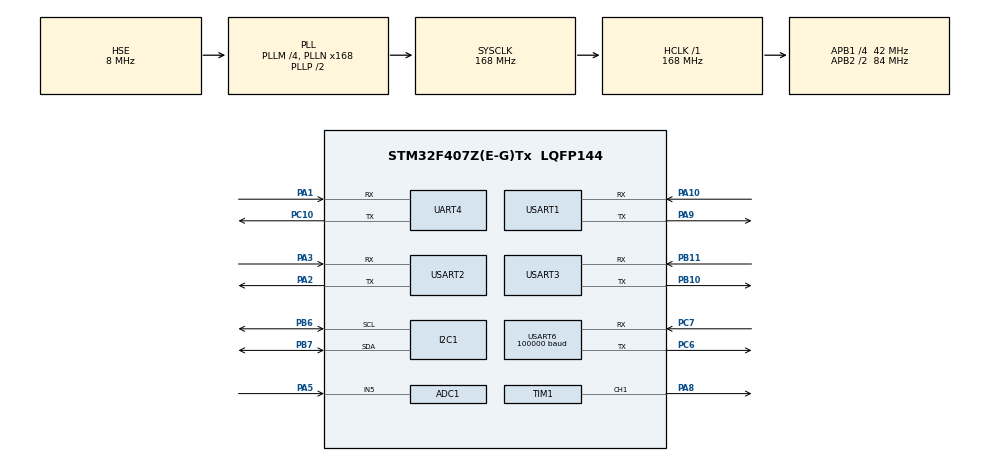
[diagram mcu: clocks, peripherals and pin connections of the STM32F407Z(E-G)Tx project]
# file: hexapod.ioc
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ADC1.Channel-1\#ChannelRegularConversion=ADC_CHANNEL_5
ADC1.ContinuousConvMode=ENABLE
ADC1.NbrOfConversionFlag=1
ADC1.Rank-1\#ChannelRegularConversion=1
ADC1.SamplingTime-1\#ChannelRegularConversion=ADC_SAMPLETIME_3CYCLES
ADC1.master=1
I2C1.I2C_Mode=I2C_Fast
Mcu.Family=STM32F4
Mcu.Name=STM32F407Z(E-G)Tx
Mcu.Package=LQFP144
NVIC.PriorityGroup=NVIC_PRIORITYGROUP_3
NVIC.UART4_IRQn=true\:1\:0\:true\:false\:true\:true\:true\:true
NVIC.USART2_IRQn=true\:0\:0\:true\:false\:true\:true\:true\:true
NVIC.USART3_IRQn=true\:0\:0\:false\:false\:true\:true\:true\:true
NVIC.USART6_IRQn=true\:1\:0\:true\:false\:true\:true\:true\:true
PA1.Mode=Asynchronous
PA1.Signal=UART4_RX
PA10.Mode=Asynchronous
PA10.Signal=USART1_RX
PA13.Mode=Serial_Wire
PA13.Signal=SYS_JTMS-SWDIO
PA14.Mode=Serial_Wire
PA14.Signal=SYS_JTCK-SWCLK
PA2.Mode=Asynchronous
PA2.Signal=USART2_TX
PA3.Mode=Asynchronous
PA3.Signal=USART2_RX
PA5.Signal=ADCx_IN5
PA8.Signal=S_TIM1_CH1
PA9.Mode=Asynchronous
PA9.Signal=USART1_TX
PB10.Mode=Asynchronous
PB10.Signal=USART3_TX
PB11.Mode=Asynchronous
PB11.Signal=USART3_RX
PB6.Mode=I2C
PB6.Signal=I2C1_SCL
PB7.Mode=I2C
PB7.Signal=I2C1_SDA
PC10.Mode=Asynchronous
PC10.Signal=UART4_TX
PC14-OSC32_IN.Mode=LSE-External-Oscillator
PC14-OSC32_IN.Signal=RCC_OSC32_IN
PC15-OSC32_OUT.Mode=LSE-External-Oscillator
PC15-OSC32_OUT.Signal=RCC_OSC32_OUT
PC6.Mode=Asynchronous
PC6.Signal=USART6_TX
PC7.Mode=Asynchronous
PC7.Signal=USART6_RX
PH0-OSC_IN.Mode=HSE-External-Oscillator
PH0-OSC_IN.Signal=RCC_OSC_IN
PH1-OSC_OUT.Mode=HSE-External-Oscillator
PH1-OSC_OUT.Signal=RCC_OSC_OUT
ProjectManager.HeapSize=0x200
ProjectManager.StackSize=0x400
ProjectManager.TargetToolchain=STM32CubeIDE
RCC.48MHZClocksFreq_Value=84000000
RCC.AHBFreq_Value=168000000
RCC.APB1CLKDivider=RCC_HCLK_DIV4
RCC.APB1Freq_Value=42000000
RCC.APB1TimFreq_Value=84000000
RCC.APB2CLKDivider=RCC_HCLK_DIV2
RCC.APB2Freq_Value=84000000
RCC.APB2TimFreq_Value=168000000
RCC.CortexFreq_Value=168000000
RCC.HCLKFreq_Value=168000000
RCC.HSE_VALUE=8000000
RCC.HSI_VALUE=16000000
RCC.PLLM=4
RCC.PLLN=168
RCC.PLLSourceVirtual=RCC_PLLSOURCE_HSE
RCC.SYSCLKFreq_VALUE=168000000
RCC.SYSCLKSource=RCC_SYSCLKSOURCE_PLLCLK
RCC.VCOOutputFreq_Value=336000000
SH.ADCx_IN5.0=ADC1_IN5,IN5
SH.S_TIM1_CH1.0=TIM1_CH1,PWM Generation1 CH1
TIM1.Channel-PWM\ Generation1\ CH1=TIM_CHANNEL_1
TIM1.Period=19999
TIM1.Prescaler=167
TIM1.Pulse-PWM\ Generation1\ CH1=1500
UART4.VirtualMode=Asynchronous
USART1.VirtualMode=VM_ASYNC
USART2.VirtualMode=VM_ASYNC
USART3.VirtualMode=VM_ASYNC
USART6.BaudRate=100000
USART6.Parity=PARITY_EVEN
USART6.StopBits=STOPBITS_2
USART6.VirtualMode=VM_ASYNC
USART6.WordLength=WORDLENGTH_9B
VP_TIM1_VS_ClockSourceINT.Mode=Internal
board=custom

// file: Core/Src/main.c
/* USER CODE BEGIN Header */
/**
  ******************************************************************************
  * @file           : main.c
  * @brief          : Main program body
  ******************************************************************************
  * @attention
  *
  * Copyright (c) 2024 STMicroelectronics.
  * All rights reserved.
  *
  * This software is licensed under terms that can be found in the LICENSE file
  * in the root directory of this software component.
  * If no LICENSE file comes with this software, it is provided AS-IS.
  *
  ******************************************************************************
  */
/* USER CODE END Header */
#include "main.h"
#include "adc.h"
#include "i2c.h"
#include "tim.h"
#include "usart.h"
#include "gpio.h"

/* USER CODE BEGIN Includes */
#include "servo.h"
#include "servo2.h"
#include "hexapod_control.h"
#include "sphere_control.h"
#include <string.h>
#include "stdio.h"
#include "sbus.h"
#include "hexapod_remote_control.h"
#include "robot_initialization.h"
#include "oled.h"

/* USER CODE END Includes */

void SystemClock_Config(void);

/* USER CODE BEGIN 0 */
#ifdef __GNUC__									//串口重定向
#define PUTCHAR_PROTOTYPE int __io_putchar(int ch)
#else
#define PUTCHAR_PROTOTYPE int fputc(int ch, FILE *f)
#endif
PUTCHAR_PROTOTYPE
{
    HAL_UART_Transmit(&huart1 , (uint8_t *)&ch, 1, 0xFFFF);
    return ch;
}

/* USER CODE END 0 */

int main(void)
{

  /* MCU Configuration--------------------------------------------------------*/

  /* Reset of all peripherals, Initializes the Flash interface and the Systick. */
  HAL_Init();

  /* Configure the system clock */
  SystemClock_Config();

  /* Initialize all configured peripherals */
  MX_GPIO_Init();
  MX_USART1_UART_Init();
  MX_USART2_UART_Init();
  MX_TIM1_Init();
  MX_USART6_UART_Init();
  MX_USART3_UART_Init();
  MX_UART4_Init();
  MX_ADC1_Init();
  MX_I2C1_Init();
  /* USER CODE BEGIN 2 */
  int value = 0;
  float voltage_CC = 0.0;
  char vcc[20] =  "";

  HAL_ADC_Start(&hadc1);
  HAL_ADC_PollForConversion(&hadc1, HAL_MAX_DELAY);
  value = HAL_ADC_GetValue(&hadc1);
  voltage_CC = (value/4095.0) * 33.0;
  sprintf(vcc , "VCC: %.2fV " , voltage_CC);

  OLED_Init();
  OLED_NewFrame();
  OLED_PrintString(2, 2, vcc, &font16x16, OLED_COLOR_NORMAL);
  OLED_ShowFrame();
  HAL_Delay(100);
  HAL_TIM_PWM_Start(&htim1, TIM_CHANNEL_1);

  RemoteControl_Init();
  printf("遥控初始化完成\r\n");

  // 初始化六足机器人遥控控制
  printf("六足机器人系统启动...\r\n");

  InitializeAllServos();

  HAL_Delay(2000);

  /* USER CODE END 2 */

  /* Infinite loop */
  while (1)
  {

    /* USER CODE BEGIN 3 */
	  value = HAL_ADC_GetValue(&hadc1);
	  voltage_CC = (value/4095.0) * 33;
	  sprintf(vcc , "VCC: %.2fV " , voltage_CC);
	  OLED_NewFrame();
	  OLED_PrintString(2, 2, vcc, &font16x16, OLED_COLOR_NORMAL);
	  OLED_ShowFrame();
	  // 处理遥控控制信号
	  RemoteControl_Process();

	      // 处理舵机通信
	     // Servo_Process();

	      // 处理球形控制
	      //Sphere_Process();

	      // 短暂延时以降低CPU使用率
	      HAL_Delay(1);
  }

  /* USER CODE END 3 */
}

void SystemClock_Config(void)
{
  RCC_OscInitTypeDef RCC_OscInitStruct = {0};
  RCC_ClkInitTypeDef RCC_ClkInitStruct = {0};

  /** Configure the main internal regulator output voltage
  */
  __HAL_RCC_PWR_CLK_ENABLE();
  __HAL_PWR_VOLTAGESCALING_CONFIG(PWR_REGULATOR_VOLTAGE_SCALE1);

  /** Initializes the RCC Oscillators according to the specified parameters
  * in the RCC_OscInitTypeDef structure.
  */
  RCC_OscInitStruct.OscillatorType = RCC_OSCILLATORTYPE_HSE;
  RCC_OscInitStruct.HSEState = RCC_HSE_ON;
  RCC_OscInitStruct.PLL.PLLState = RCC_PLL_ON;
  RCC_OscInitStruct.PLL.PLLSource = RCC_PLLSOURCE_HSE;
  RCC_OscInitStruct.PLL.PLLM = 4;
  RCC_OscInitStruct.PLL.PLLN = 168;
  RCC_OscInitStruct.PLL.PLLP = RCC_PLLP_DIV2;
  RCC_OscInitStruct.PLL.PLLQ = 4;
  if (HAL_RCC_OscConfig(&RCC_OscInitStruct) != HAL_OK)
  {
    Error_Handler();
  }

  /** Initializes the CPU, AHB and APB buses clocks
  */
  RCC_ClkInitStruct.ClockType = RCC_CLOCKTYPE_HCLK|RCC_CLOCKTYPE_SYSCLK
                              |RCC_CLOCKTYPE_PCLK1|RCC_CLOCKTYPE_PCLK2;
  RCC_ClkInitStruct.SYSCLKSource = RCC_SYSCLKSOURCE_PLLCLK;
  RCC_ClkInitStruct.AHBCLKDivider = RCC_SYSCLK_DIV1;
  RCC_ClkInitStruct.APB1CLKDivider = RCC_HCLK_DIV4;
  RCC_ClkInitStruct.APB2CLKDivider = RCC_HCLK_DIV2;

  if (HAL_RCC_ClockConfig(&RCC_ClkInitStruct, FLASH_LATENCY_5) != HAL_OK)
  {
    Error_Handler();
  }
}

void Error_Handler(void)
{
  __disable_irq();
  while (1)
  {
  }
}
